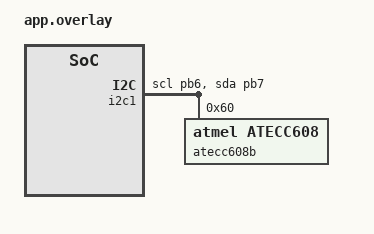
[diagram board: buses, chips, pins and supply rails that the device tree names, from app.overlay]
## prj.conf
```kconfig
CONFIG_MAIN_STACK_SIZE=2048
CONFIG_FLASH=y
CONFIG_LOG=y
CONFIG_LOG_BUFFER_SIZE=2048
CONFIG_PRINTK=y
CONFIG_I2C=y
CONFIG_CRYPTOAUTHLIB=y
CONFIG_CRYPTOAUTHLIB_HAL_I2C=y
CONFIG_CRYPTOAUTHLIB_ATECC608B_SUPPORT=y
CONFIG_HEAP_MEM_POOL_SIZE=8192

# Set USB VID AND PID to default values to avoid warnings.
CONFIG_USB_DEVICE_VID=0x35D1
CONFIG_USB_DEVICE_PID=0x0064
```

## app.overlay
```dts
&i2c1 {
    pinctrl-0 = <
        &i2c1_scl_pb6
        &i2c1_sda_pb7
    >;
    pinctrl-names = "default";
    status = "okay";

    /* ATECC608B */
    atecc608b: atecc608@60 {
        compatible = "atmel,atecc608";
        reg = <0x60>;
        status = "okay";
    };
};
```

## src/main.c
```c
/*
 * Copyright (c) 2025 DNDG srl
 *
 * SPDX-License-Identifier: Apache-2.0
 */

#include <stdint.h>
#include <zephyr/kernel.h>
#include <zephyr/devicetree.h>
#include <zephyr/drivers/i2c.h>
#include <zephyr/sys/util.h>
#include <cryptoauthlib/cryptoauthlib.h>
#include <board.h>

static const struct device *i2c1 = DEVICE_DT_GET(DT_NODELABEL(i2c1));

static uint8_t msg[ATCA_SHA256_DIGEST_SIZE];
static uint8_t publickey[ATCA_ECCP256_PUBKEY_SIZE];
static uint8_t signature[ATCA_ECCP256_SIG_SIZE];
static uint8_t publickey_hex[ATCA_ECCP256_PUBKEY_SIZE * 2 + 1];
static char signature_hex[ATCA_ECCP256_SIG_SIZE * 2 + 1];

int main(void)
{
    ATCA_STATUS status;

    if (!device_is_ready(i2c1)) {
		printk("Error: I2C1 device not ready\n");
		return 0;
	}

    cfg_ateccx08a_i2c_default.atcai2c.bus = 0;
    cfg_ateccx08a_i2c_default.atcai2c.address = 0xC0;
    cfg_ateccx08a_i2c_default.cfg_data = DEVICE_DT_NAME(DT_NODELABEL(i2c1));

    status = atcab_init(&cfg_ateccx08a_i2c_default);
    if (status != ATCA_SUCCESS) {
        printk("Error: atcab_init() returned error status: %d\n", status);
        return -1;
    }

    status = atcac_sw_sha2_256((uint8_t*)"The quick brown fox jumps over the lazy dog.", 44, msg);
    if (status != ATCA_SUCCESS) {
        printk("Error: atcac_sw_sha2_256() returned error status: %d\n", status);
        return -2;
    }

    status = atcab_sign(0, msg, signature);
    if (status != ATCA_SUCCESS) {
        printk("Error: atcab_sign() returned error status: %d\n", status);
        return -3;
    }

    status = atcab_get_pubkey(0, publickey);
    if (status != ATCA_SUCCESS) {
        printk("Error: atcab_get_pubkey() returned error status: %d\n", status);
        return -4;
    }

    bin2hex(signature, sizeof(signature), signature_hex, sizeof(signature_hex));
    printk("Signature: %s\n", signature_hex);
    bin2hex(publickey, sizeof(publickey), publickey_hex, sizeof(publickey_hex));
    printk("PublicKey: %s\n", publickey_hex);

	return 0;
}
```
